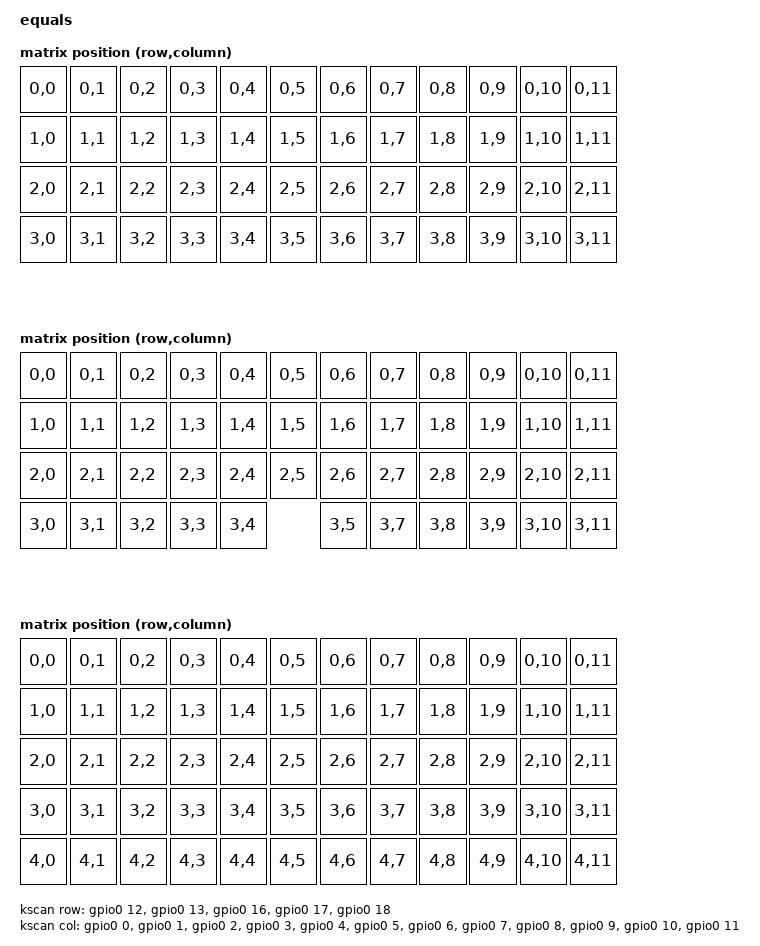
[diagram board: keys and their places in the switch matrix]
/*
 * Copyright (c) 2023 Pete Johanson
 *
 * SPDX-License-Identifier: MIT
 */

/dts-v1/;

#include <rpi_pico/rp2040.dtsi>
#include <dt-bindings/zmk/matrix_transform.h>

/ {
	model = "equals";
	compatible = "boardsource,equals";

	chosen {
		zephyr,sram = &sram0;
		zephyr,flash = &flash0;
		zephyr,console = &cdc_acm_uart;
		zephyr,shell-uart = &cdc_acm_uart;
		zephyr,code-partition = &code_partition;
		zmk,kscan = &kscan;
		zmk,matrix_transform = &ortho48_transform;
	};

	xtal_clk: xtal-clk {
		compatible = "fixed-clock";
		clock-frequency = <12000000>;
		#clock-cells = <0>;
	};


	ortho48_transform: ortho48_transform {
		compatible = "zmk,matrix-transform";
		rows = <4>;
		columns = <12>;

		map = <
	RC(0,0) RC(0,1) RC(0,2) RC(0,3) RC(0,4) RC(0,5) RC(0,6) RC(0,7) RC(0,8) RC(0,9) RC(0,10) RC(0,11) 
	RC(1,0) RC(1,1) RC(1,2) RC(1,3) RC(1,4) RC(1,5) RC(1,6) RC(1,7) RC(1,8) RC(1,9) RC(1,10) RC(1,11) 
	RC(2,0) RC(2,1) RC(2,2) RC(2,3) RC(2,4) RC(2,5) RC(2,6) RC(2,7) RC(2,8) RC(2,9) RC(2,10) RC(2,11) 
	RC(3,0) RC(3,1) RC(3,2) RC(3,3) RC(3,4) RC(3,5) RC(3,6) RC(3,7) RC(3,8) RC(3,9) RC(3,10) RC(3,11) 
	>;
	};

	mit48_transform: mit48_transform {
		compatible = "zmk,matrix-transform";
		rows = <4>;
		columns = <12>;

		map = <
	RC(0,0) RC(0,1) RC(0,2) RC(0,3) RC(0,4) RC(0,5) RC(0,6) RC(0,7) RC(0,8) RC(0,9) RC(0,10) RC(0,11) 
	RC(1,0) RC(1,1) RC(1,2) RC(1,3) RC(1,4) RC(1,5) RC(1,6) RC(1,7) RC(1,8) RC(1,9) RC(1,10) RC(1,11) 
	RC(2,0) RC(2,1) RC(2,2) RC(2,3) RC(2,4) RC(2,5) RC(2,6) RC(2,7) RC(2,8) RC(2,9) RC(2,10) RC(2,11) 
	RC(3,0) RC(3,1) RC(3,2) RC(3,3) RC(3,4)      RC(3,5)    RC(3,7) RC(3,8) RC(3,9) RC(3,10) RC(3,11) 
	>;
	};

	ortho60_transform: ortho60_transform {
		compatible = "zmk,matrix-transform";
		rows = <5>;
		columns = <12>;

		map = <
	RC(0,0) RC(0,1) RC(0,2) RC(0,3) RC(0,4) RC(0,5) RC(0,6) RC(0,7) RC(0,8) RC(0,9) RC(0,10) RC(0,11) 
	RC(1,0) RC(1,1) RC(1,2) RC(1,3) RC(1,4) RC(1,5) RC(1,6) RC(1,7) RC(1,8) RC(1,9) RC(1,10) RC(1,11) 
	RC(2,0) RC(2,1) RC(2,2) RC(2,3) RC(2,4) RC(2,5) RC(2,6) RC(2,7) RC(2,8) RC(2,9) RC(2,10) RC(2,11) 
	RC(3,0) RC(3,1) RC(3,2) RC(3,3) RC(3,4) RC(3,5) RC(3,6) RC(3,7) RC(3,8) RC(3,9) RC(3,10) RC(3,11) 
	RC(4,0) RC(4,1) RC(4,2) RC(4,3) RC(4,4) RC(4,5) RC(4,6) RC(4,7) RC(4,8) RC(4,9) RC(4,10) RC(4,11) 
	>;
	};

	mit60_transform: mit60_transform {
		compatible = "zmk,matrix-transform";
		rows = <5>;
		columns = <12>;

		map = <
	RC(0,0) RC(0,1) RC(0,2) RC(0,3) RC(0,4) RC(0,5) RC(0,6) RC(0,7) RC(0,8) RC(0,9) RC(0,10) RC(0,11) 
	RC(1,0) RC(1,1) RC(1,2) RC(1,3) RC(1,4) RC(1,5) RC(1,6) RC(1,7) RC(1,8) RC(1,9) RC(1,10) RC(1,11) 
	RC(2,0) RC(2,1) RC(2,2) RC(2,3) RC(2,4) RC(2,5) RC(2,6) RC(2,7) RC(2,8) RC(2,9) RC(2,10) RC(2,11) 
	RC(3,0) RC(3,1) RC(3,2) RC(3,3) RC(3,4) RC(3,5) RC(3,6) RC(3,7) RC(3,8) RC(3,9) RC(3,10) RC(3,11) 
	RC(4,0) RC(4,1) RC(4,2) RC(4,3) RC(4,4)     RC(4,5)     RC(4,7) RC(4,8) RC(4,9) RC(4,10) RC(4,11) 
	>;
	};


	kscan: kscan {
		compatible = "zmk,kscan-gpio-matrix";
		label = "KSCAN";
		debounce-press-ms = <1>;
		debounce-release-ms = <5>;

		diode-direction = "col2row";

		col-gpios
			= <&gpio0 0  (GPIO_ACTIVE_HIGH)>
			, <&gpio0 1  (GPIO_ACTIVE_HIGH)>
			, <&gpio0 2  (GPIO_ACTIVE_HIGH)>
			, <&gpio0 3  (GPIO_ACTIVE_HIGH)>
			, <&gpio0 4  (GPIO_ACTIVE_HIGH)>
			, <&gpio0 5  (GPIO_ACTIVE_HIGH)>
			, <&gpio0 6  (GPIO_ACTIVE_HIGH)>
			, <&gpio0 7  (GPIO_ACTIVE_HIGH)>
			, <&gpio0 8  (GPIO_ACTIVE_HIGH)>
			, <&gpio0 9  (GPIO_ACTIVE_HIGH)>
			, <&gpio0 10 (GPIO_ACTIVE_HIGH)>
			, <&gpio0 11 (GPIO_ACTIVE_HIGH)>
			;
		row-gpios
			= <&gpio0 12 (GPIO_ACTIVE_HIGH | GPIO_PULL_DOWN)>
			, <&gpio0 13 (GPIO_ACTIVE_HIGH | GPIO_PULL_DOWN)>
			, <&gpio0 16 (GPIO_ACTIVE_HIGH | GPIO_PULL_DOWN)>
			, <&gpio0 17 (GPIO_ACTIVE_HIGH | GPIO_PULL_DOWN)>
			, <&gpio0 18 (GPIO_ACTIVE_HIGH | GPIO_PULL_DOWN)>
			;
	};
};

&flash0 {
    reg = <0x10000000 DT_SIZE_M(16)>;

    partitions {
        compatible = "fixed-partitions";
        #address-cells = <1>;
        #size-cells = <1>;

        /* Reserved memory for the second stage bootloader */
        second_stage_bootloader: partition@0 {
            label = "second_stage_bootloader";
            reg = <0x00000000 0x100>;
            read-only;
        };

        /*
         * Usable flash. Starts at 0x100, after the bootloader. The partition
         * size is 16MB minus the 0x100 bytes taken by the bootloader.
         */
        code_partition: partition@100 {
            label = "code";
            reg = <0x100 (DT_SIZE_M(16) - 0x100)>;
            read-only;
        };
    };
};


&usbd {
  status = "okay";
  cdc_acm_uart: cdc_acm_uart {
    compatible = "zephyr,cdc-acm-uart";
  };
};


&gpio0 {
    status = "okay";
};

